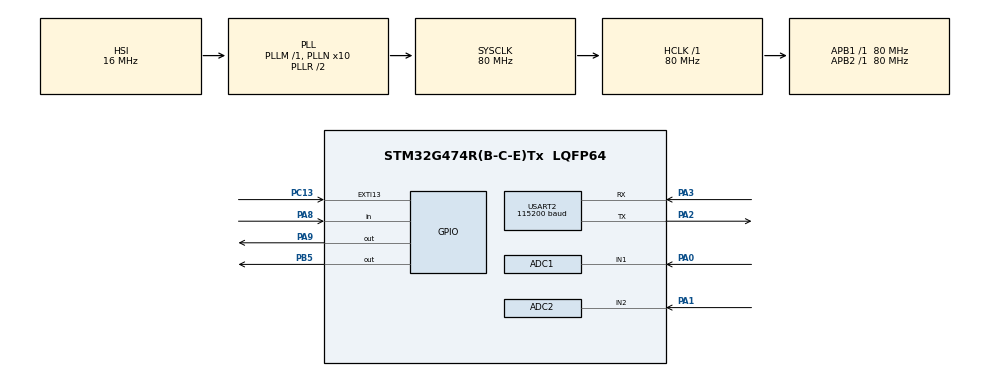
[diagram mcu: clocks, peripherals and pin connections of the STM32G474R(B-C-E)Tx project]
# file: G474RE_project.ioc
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ADC1.Channel-0\#ChannelRegularConversion=ADC_CHANNEL_1
ADC1.NbrOfConversionFlag=1
ADC1.OffsetNumber-0\#ChannelRegularConversion=ADC_OFFSET_NONE
ADC1.Rank-0\#ChannelRegularConversion=1
ADC1.SamplingTime-0\#ChannelRegularConversion=ADC_SAMPLETIME_2CYCLES_5
ADC1.master=1
ADC2.Channel-0\#ChannelRegularConversion=ADC_CHANNEL_2
ADC2.NbrOfConversionFlag=1
ADC2.OffsetNumber-0\#ChannelRegularConversion=ADC_OFFSET_NONE
ADC2.Rank-0\#ChannelRegularConversion=1
ADC2.SamplingTime-0\#ChannelRegularConversion=ADC_SAMPLETIME_2CYCLES_5
Mcu.Family=STM32G4
Mcu.Name=STM32G474R(B-C-E)Tx
Mcu.Package=LQFP64
NVIC.EXTI15_10_IRQn=true\:0\:0\:false\:false\:true\:true\:true\:true
NVIC.PriorityGroup=NVIC_PRIORITYGROUP_4
NVIC.TIM3_IRQn=true\:0\:0\:false\:false\:true\:true\:true\:true
NVIC.TIM4_IRQn=true\:0\:0\:false\:false\:true\:true\:true\:true
PA0.Mode=IN1-Single-Ended
PA0.Signal=ADC1_IN1
PA1.Mode=IN2-Single-Ended
PA1.Signal=ADC2_IN2
PA2.Mode=Asynchronous
PA2.Signal=USART2_TX
PA3.Mode=Asynchronous
PA3.Signal=USART2_RX
PA8.Signal=GPIO_Input
PA9.Signal=GPIO_Output
PB5.Signal=GPIO_Output
PC13.Signal=GPXTI13
PF0-OSC_IN.Mode=HSE-External-Oscillator
PF0-OSC_IN.Signal=RCC_OSC_IN
PF1-OSC_OUT.Mode=HSE-External-Oscillator
PF1-OSC_OUT.Signal=RCC_OSC_OUT
ProjectManager.HeapSize=0x200
ProjectManager.StackSize=0x400
ProjectManager.TargetToolchain=STM32CubeIDE
RCC.ADC12Freq_Value=80000000
RCC.ADC345Freq_Value=80000000
RCC.AHBFreq_Value=80000000
RCC.APB1Freq_Value=80000000
RCC.APB1TimFreq_Value=80000000
RCC.APB2Freq_Value=80000000
RCC.APB2TimFreq_Value=80000000
RCC.CortexFreq_Value=80000000
RCC.EXTERNAL_CLOCK_VALUE=12288000
RCC.HCLKFreq_Value=80000000
RCC.HSE_VALUE=24000000
RCC.HSI48_VALUE=48000000
RCC.HSI_VALUE=16000000
RCC.LSE_VALUE=32768
RCC.PLLN=10
RCC.RTCClockSelection=RCC_RTCCLKSOURCE_LSE
RCC.SYSCLKFreq_VALUE=80000000
RCC.SYSCLKSource=RCC_SYSCLKSOURCE_PLLCLK
RCC.USBFreq_Value=80000000
RCC.VCOOutputFreq_Value=160000000
TIM3.PeriodNoDither=11200-1
TIM3.Prescaler=1450-1
TIM4.PeriodNoDither=11200-1
TIM4.Prescaler=2500-1
USART2.BaudRate=115200
USART2.VirtualMode-Asynchronous=VM_ASYNC
VP_TIM3_VS_ClockSourceINT.Mode=Internal
VP_TIM4_VS_ClockSourceINT.Mode=Internal
board=NUCLEO-G474RE

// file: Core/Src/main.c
/* USER CODE BEGIN Header */
/**
  ******************************************************************************
  * @file           : main.c
  * @brief          : Main program body
  ******************************************************************************
  * @attention
  *
  * Copyright (c) 2022 STMicroelectronics.
  * All rights reserved.
  *
  * This software is licensed under terms that can be found in the LICENSE file
  * in the root directory of this software component.
  * If no LICENSE file comes with this software, it is provided AS-IS.
  *
  ******************************************************************************
  */
/* USER CODE END Header */
#include "main.h"

/* USER CODE BEGIN Includes */
#include <string.h>
#include <stdio.h>
#include <stdbool.h>
/* USER CODE END Includes */

ADC_HandleTypeDef hadc1;
ADC_HandleTypeDef hadc2;

TIM_HandleTypeDef htim3;
TIM_HandleTypeDef htim4;

UART_HandleTypeDef huart2;

/* USER CODE BEGIN PV */
//Global variable for state, to allow the interrupt to change the state
char state='R';//W waiting, R running, D danger
bool selectedled= true; //true led1, false led2
/* USER CODE END PV */

void SystemClock_Config(void);
static void MX_GPIO_Init(void);
static void MX_ADC1_Init(void);
static void MX_USART2_UART_Init(void);
static void MX_ADC2_Init(void);
static void MX_TIM3_Init(void);
static void MX_TIM4_Init(void);

int main(void)
{

  /* MCU Configuration--------------------------------------------------------*/

  /* Reset of all peripherals, Initializes the Flash interface and the Systick. */
  HAL_Init();

  /* Configure the system clock */
  SystemClock_Config();

  /* Initialize all configured peripherals */
  MX_GPIO_Init();
  MX_ADC1_Init();
  MX_USART2_UART_Init();
  MX_ADC2_Init();
  MX_TIM3_Init();
  MX_TIM4_Init();
  /* USER CODE BEGIN 2 */

  if (HAL_TIM_Base_Start_IT(&htim3) != HAL_OK)
    {
      /* Starting Error */
      Error_Handler();
    }
  if (HAL_TIM_Base_Start_IT(&htim4) != HAL_OK)
    {
      /* Starting Error */
      Error_Handler();
    }

  /* USER CODE END 2 */

  /* Infinite loop */
  /* USER CODE BEGIN WHILE */
  while (1)
  {
	 switch (state){
	 case 'W': //WAITING STATE
		 ;
		 printinserial("Board in waiting state - please press the emergency button\r\n\n");
		 HAL_Delay(500);
		 break;

	 case 'D': //DANGER STATE
		 if(selectedled){
			 //Set of led 1
			 HAL_GPIO_WritePin(GPIOA, GPIO_PIN_9, GPIO_PIN_SET);

			 //Print state
			 printinserial("Danger state sovratensione, led 1 acceso\r\n\n");
		 }
		 else{
			 //Set of led 2
			 HAL_GPIO_WritePin(GPIOB, GPIO_PIN_5, GPIO_PIN_SET);

			 //Print state
			 printinserial("Danger state sottotensione, led 2 acceso\r\n\n");
		}
		 //Reset
		 selectedled=0;
		 state='R';
		break;
	 }
    /* USER CODE END WHILE */

  }
}

void SystemClock_Config(void)
{
  RCC_OscInitTypeDef RCC_OscInitStruct = {0};
  RCC_ClkInitTypeDef RCC_ClkInitStruct = {0};

  /** Configure the main internal regulator output voltage
  */
  HAL_PWREx_ControlVoltageScaling(PWR_REGULATOR_VOLTAGE_SCALE1);

  /** Initializes the RCC Oscillators according to the specified parameters
  * in the RCC_OscInitTypeDef structure.
  */
  RCC_OscInitStruct.OscillatorType = RCC_OSCILLATORTYPE_HSI;
  RCC_OscInitStruct.HSIState = RCC_HSI_ON;
  RCC_OscInitStruct.HSICalibrationValue = RCC_HSICALIBRATION_DEFAULT;
  RCC_OscInitStruct.PLL.PLLState = RCC_PLL_ON;
  RCC_OscInitStruct.PLL.PLLSource = RCC_PLLSOURCE_HSI;
  RCC_OscInitStruct.PLL.PLLM = RCC_PLLM_DIV1;
  RCC_OscInitStruct.PLL.PLLN = 10;
  RCC_OscInitStruct.PLL.PLLP = RCC_PLLP_DIV2;
  RCC_OscInitStruct.PLL.PLLQ = RCC_PLLQ_DIV2;
  RCC_OscInitStruct.PLL.PLLR = RCC_PLLR_DIV2;
  if (HAL_RCC_OscConfig(&RCC_OscInitStruct) != HAL_OK)
  {
    Error_Handler();
  }

  /** Initializes the CPU, AHB and APB buses clocks
  */
  RCC_ClkInitStruct.ClockType = RCC_CLOCKTYPE_HCLK|RCC_CLOCKTYPE_SYSCLK
                              |RCC_CLOCKTYPE_PCLK1|RCC_CLOCKTYPE_PCLK2;
  RCC_ClkInitStruct.SYSCLKSource = RCC_SYSCLKSOURCE_PLLCLK;
  RCC_ClkInitStruct.AHBCLKDivider = RCC_SYSCLK_DIV1;
  RCC_ClkInitStruct.APB1CLKDivider = RCC_HCLK_DIV1;
  RCC_ClkInitStruct.APB2CLKDivider = RCC_HCLK_DIV1;

  if (HAL_RCC_ClockConfig(&RCC_ClkInitStruct, FLASH_LATENCY_2) != HAL_OK)
  {
    Error_Handler();
  }
}

static void MX_ADC1_Init(void)
{

  ADC_MultiModeTypeDef multimode = {0};
  ADC_ChannelConfTypeDef sConfig = {0};

  /** Common config
  */
  hadc1.Instance = ADC1;
  hadc1.Init.ClockPrescaler = ADC_CLOCK_SYNC_PCLK_DIV2;
  hadc1.Init.Resolution = ADC_RESOLUTION_12B;
  hadc1.Init.DataAlign = ADC_DATAALIGN_RIGHT;
  hadc1.Init.GainCompensation = 0;
  hadc1.Init.ScanConvMode = ADC_SCAN_DISABLE;
  hadc1.Init.EOCSelection = ADC_EOC_SINGLE_CONV;
  hadc1.Init.LowPowerAutoWait = DISABLE;
  hadc1.Init.ContinuousConvMode = DISABLE;
  hadc1.Init.NbrOfConversion = 1;
  hadc1.Init.DiscontinuousConvMode = DISABLE;
  hadc1.Init.ExternalTrigConv = ADC_SOFTWARE_START;
  hadc1.Init.ExternalTrigConvEdge = ADC_EXTERNALTRIGCONVEDGE_NONE;
  hadc1.Init.DMAContinuousRequests = DISABLE;
  hadc1.Init.Overrun = ADC_OVR_DATA_PRESERVED;
  hadc1.Init.OversamplingMode = DISABLE;
  if (HAL_ADC_Init(&hadc1) != HAL_OK)
  {
    Error_Handler();
  }

  /** Configure the ADC multi-mode
  */
  multimode.Mode = ADC_MODE_INDEPENDENT;
  if (HAL_ADCEx_MultiModeConfigChannel(&hadc1, &multimode) != HAL_OK)
  {
    Error_Handler();
  }

  /** Configure Regular Channel
  */
  sConfig.Channel = ADC_CHANNEL_1;
  sConfig.Rank = ADC_REGULAR_RANK_1;
  sConfig.SamplingTime = ADC_SAMPLETIME_2CYCLES_5;
  sConfig.SingleDiff = ADC_SINGLE_ENDED;
  sConfig.OffsetNumber = ADC_OFFSET_NONE;
  sConfig.Offset = 0;
  if (HAL_ADC_ConfigChannel(&hadc1, &sConfig) != HAL_OK)
  {
    Error_Handler();
  }

}

static void MX_ADC2_Init(void)
{

  ADC_ChannelConfTypeDef sConfig = {0};

  /** Common config
  */
  hadc2.Instance = ADC2;
  hadc2.Init.ClockPrescaler = ADC_CLOCK_SYNC_PCLK_DIV2;
  hadc2.Init.Resolution = ADC_RESOLUTION_12B;
  hadc2.Init.DataAlign = ADC_DATAALIGN_RIGHT;
  hadc2.Init.GainCompensation = 0;
  hadc2.Init.ScanConvMode = ADC_SCAN_DISABLE;
  hadc2.Init.EOCSelection = ADC_EOC_SINGLE_CONV;
  hadc2.Init.LowPowerAutoWait = DISABLE;
  hadc2.Init.ContinuousConvMode = DISABLE;
  hadc2.Init.NbrOfConversion = 1;
  hadc2.Init.DiscontinuousConvMode = DISABLE;
  hadc2.Init.ExternalTrigConv = ADC_SOFTWARE_START;
  hadc2.Init.ExternalTrigConvEdge = ADC_EXTERNALTRIGCONVEDGE_NONE;
  hadc2.Init.DMAContinuousRequests = DISABLE;
  hadc2.Init.Overrun = ADC_OVR_DATA_PRESERVED;
  hadc2.Init.OversamplingMode = DISABLE;
  if (HAL_ADC_Init(&hadc2) != HAL_OK)
  {
    Error_Handler();
  }

  /** Configure Regular Channel
  */
  sConfig.Channel = ADC_CHANNEL_2;
  sConfig.Rank = ADC_REGULAR_RANK_1;
  sConfig.SamplingTime = ADC_SAMPLETIME_2CYCLES_5;
  sConfig.SingleDiff = ADC_SINGLE_ENDED;
  sConfig.OffsetNumber = ADC_OFFSET_NONE;
  sConfig.Offset = 0;
  if (HAL_ADC_ConfigChannel(&hadc2, &sConfig) != HAL_OK)
  {
    Error_Handler();
  }

}

static void MX_TIM3_Init(void)
{

  TIM_ClockConfigTypeDef sClockSourceConfig = {0};
  TIM_MasterConfigTypeDef sMasterConfig = {0};

  htim3.Instance = TIM3;
  htim3.Init.Prescaler = 1450-1;
  htim3.Init.CounterMode = TIM_COUNTERMODE_UP;
  htim3.Init.Period = 11199;
  htim3.Init.ClockDivision = TIM_CLOCKDIVISION_DIV1;
  htim3.Init.AutoReloadPreload = TIM_AUTORELOAD_PRELOAD_DISABLE;
  if (HAL_TIM_Base_Init(&htim3) != HAL_OK)
  {
    Error_Handler();
  }
  sClockSourceConfig.ClockSource = TIM_CLOCKSOURCE_INTERNAL;
  if (HAL_TIM_ConfigClockSource(&htim3, &sClockSourceConfig) != HAL_OK)
  {
    Error_Handler();
  }
  sMasterConfig.MasterOutputTrigger = TIM_TRGO_RESET;
  sMasterConfig.MasterSlaveMode = TIM_MASTERSLAVEMODE_DISABLE;
  if (HAL_TIMEx_MasterConfigSynchronization(&htim3, &sMasterConfig) != HAL_OK)
  {
    Error_Handler();
  }

}

static void MX_TIM4_Init(void)
{

  TIM_ClockConfigTypeDef sClockSourceConfig = {0};
  TIM_MasterConfigTypeDef sMasterConfig = {0};

  htim4.Instance = TIM4;
  htim4.Init.Prescaler = 2500-1;
  htim4.Init.CounterMode = TIM_COUNTERMODE_UP;
  htim4.Init.Period = 11199;
  htim4.Init.ClockDivision = TIM_CLOCKDIVISION_DIV1;
  htim4.Init.AutoReloadPreload = TIM_AUTORELOAD_PRELOAD_DISABLE;
  if (HAL_TIM_Base_Init(&htim4) != HAL_OK)
  {
    Error_Handler();
  }
  sClockSourceConfig.ClockSource = TIM_CLOCKSOURCE_INTERNAL;
  if (HAL_TIM_ConfigClockSource(&htim4, &sClockSourceConfig) != HAL_OK)
  {
    Error_Handler();
  }
  sMasterConfig.MasterOutputTrigger = TIM_TRGO_RESET;
  sMasterConfig.MasterSlaveMode = TIM_MASTERSLAVEMODE_DISABLE;
  if (HAL_TIMEx_MasterConfigSynchronization(&htim4, &sMasterConfig) != HAL_OK)
  {
    Error_Handler();
  }

}

static void MX_USART2_UART_Init(void)
{

  huart2.Instance = USART2;
  huart2.Init.BaudRate = 115200;
  huart2.Init.WordLength = UART_WORDLENGTH_8B;
  huart2.Init.StopBits = UART_STOPBITS_1;
  huart2.Init.Parity = UART_PARITY_NONE;
  huart2.Init.Mode = UART_MODE_TX_RX;
  huart2.Init.HwFlowCtl = UART_HWCONTROL_NONE;
  huart2.Init.OverSampling = UART_OVERSAMPLING_16;
  huart2.Init.OneBitSampling = UART_ONE_BIT_SAMPLE_DISABLE;
  huart2.Init.ClockPrescaler = UART_PRESCALER_DIV1;
  huart2.AdvancedInit.AdvFeatureInit = UART_ADVFEATURE_NO_INIT;
  if (HAL_UART_Init(&huart2) != HAL_OK)
  {
    Error_Handler();
  }
  if (HAL_UARTEx_SetTxFifoThreshold(&huart2, UART_TXFIFO_THRESHOLD_1_8) != HAL_OK)
  {
    Error_Handler();
  }
  if (HAL_UARTEx_SetRxFifoThreshold(&huart2, UART_RXFIFO_THRESHOLD_1_8) != HAL_OK)
  {
    Error_Handler();
  }
  if (HAL_UARTEx_DisableFifoMode(&huart2) != HAL_OK)
  {
    Error_Handler();
  }

}

static void MX_GPIO_Init(void)
{
  GPIO_InitTypeDef GPIO_InitStruct = {0};

  /* GPIO Ports Clock Enable */
  __HAL_RCC_GPIOC_CLK_ENABLE();
  __HAL_RCC_GPIOF_CLK_ENABLE();
  __HAL_RCC_GPIOA_CLK_ENABLE();
  __HAL_RCC_GPIOB_CLK_ENABLE();

  /*Configure GPIO pin Output Level */
  HAL_GPIO_WritePin(GPIOA, GPIO_PIN_9, GPIO_PIN_RESET);

  /*Configure GPIO pin Output Level */
  HAL_GPIO_WritePin(GPIOB, GPIO_PIN_5, GPIO_PIN_RESET);

  /*Configure GPIO pin : PC13 */
  GPIO_InitStruct.Pin = GPIO_PIN_13;
  GPIO_InitStruct.Mode = GPIO_MODE_IT_RISING;
  GPIO_InitStruct.Pull = GPIO_NOPULL;
  HAL_GPIO_Init(GPIOC, &GPIO_InitStruct);

  /*Configure GPIO pin : PA8 */
  GPIO_InitStruct.Pin = GPIO_PIN_8;
  GPIO_InitStruct.Mode = GPIO_MODE_INPUT;
  GPIO_InitStruct.Pull = GPIO_NOPULL;
  HAL_GPIO_Init(GPIOA, &GPIO_InitStruct);

  /*Configure GPIO pin : PA9 */
  GPIO_InitStruct.Pin = GPIO_PIN_9;
  GPIO_InitStruct.Mode = GPIO_MODE_OUTPUT_PP;
  GPIO_InitStruct.Pull = GPIO_NOPULL;
  GPIO_InitStruct.Speed = GPIO_SPEED_FREQ_LOW;
  HAL_GPIO_Init(GPIOA, &GPIO_InitStruct);

  /*Configure GPIO pin : PB5 */
  GPIO_InitStruct.Pin = GPIO_PIN_5;
  GPIO_InitStruct.Mode = GPIO_MODE_OUTPUT_PP;
  GPIO_InitStruct.Pull = GPIO_NOPULL;
  GPIO_InitStruct.Speed = GPIO_SPEED_FREQ_LOW;
  HAL_GPIO_Init(GPIOB, &GPIO_InitStruct);

  /* EXTI interrupt init*/
  HAL_NVIC_SetPriority(EXTI15_10_IRQn, 0, 0);
  HAL_NVIC_EnableIRQ(EXTI15_10_IRQn);

}

/* USER CODE BEGIN 4 */

void HAL_TIM_PeriodElapsedCallback(TIM_HandleTypeDef* htim)
{
	if(htim == &htim3 && state=='R') //Timer3 200ms
		sensorup();
	else if(htim == &htim4 && state=='R') //Timer4 350ms
		voltageup();
}

void HAL_GPIO_EXTI_Callback(uint16_t GPIO_Pin)
{
	if(state!='W')state='W';
	else state='R';
}

void printinserial(char msg[]){
	HAL_UART_Transmit(&huart2,msg,strlen(msg),10);
}

void sensorup(){
	 // Read analog value of sensor
				 HAL_ADC_Start(&hadc1);
				 HAL_ADC_PollForConversion(&hadc1, 10);
				 float valueadc = HAL_ADC_GetValue(&hadc1) * (3.3/4096) ; //Convert adc(0, 4096) to volt(0, 3.3)

				 //Print of analog value
				 char msg[50];
				 sprintf(msg, "(%hu) Analog Value: %.2f V\r\n",HAL_GetTick() ,valueadc);
				 printinserial(msg);

				 //Read digital value of sensor
				 GPIO_PinState statedig;
				 statedig = HAL_GPIO_ReadPin(GPIOA,GPIO_PIN_8);
				 bool valuedig = (statedig == GPIO_PIN_SET);

				 //Print of digital value
				 sprintf(msg, "Digital value: %d\r\n\n", valuedig);
				 printinserial(msg);

}
void voltageup(){
	//Read the input voltage
	HAL_ADC_Start(&hadc2);
	HAL_ADC_PollForConversion(&hadc2, 10);
	float value = HAL_ADC_GetValue(&hadc2) * (3.3/4096); //Convert adc(0, 4096) to volt(0, 3.3)

	//Print of analog value
	char msg[50];
	sprintf(msg, "(%hu) Voltage: %.2f V\r\n", HAL_GetTick(),value);
	printinserial(msg);

				 //Check the value of led
				 if(value>2.7){
				 	//Danger state led 1
				 	selectedled=true;
				 	state='D';
				 }else{
				 	//Reset of led 1
				 	HAL_GPIO_WritePin(GPIOA, GPIO_PIN_9, GPIO_PIN_RESET);

				 	//Print info of led 1
				 	printinserial("led 1 off\r\n");
				 }if(value<1.8){
				 	//Danger state led 2
				 	selectedled=false;
				 	state='D';
				 }else{
				 	//Reset of led 2
				 	HAL_GPIO_WritePin(GPIOB, GPIO_PIN_5, GPIO_PIN_RESET);

				 	//Print info of led 2
				 	printinserial("led 2 off\r\n");
				 }
}

/* USER CODE END 4 */

void Error_Handler(void)
{
  __disable_irq();
  while (1)
  {
  }
}
